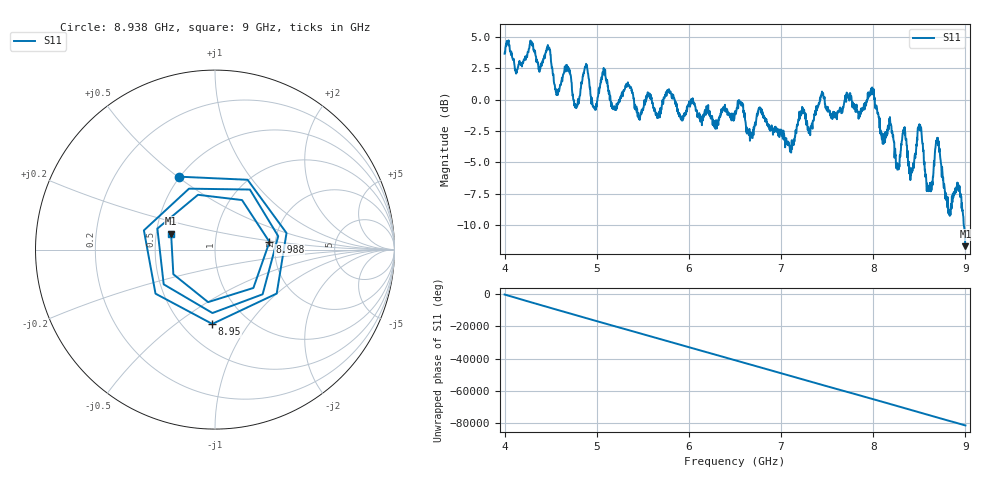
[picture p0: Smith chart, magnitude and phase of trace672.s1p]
! Created with skrf 1.8.0 (http://scikit-rf.org).
# Hz S RI R 50.0
!freq ReS11 ImS11
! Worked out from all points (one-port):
!   1601 points, 4 GHz to 9 GHz, reference 50 ohm
!   lowest |S11| = -11.7 dB at 9 GHz (marker M1), VSWR 1.70, Z = 29.9 + j5.76 ohm
!   |S11| at or under -10 dB: 8.982962 GHz to end of sweep
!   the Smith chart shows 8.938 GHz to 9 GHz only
!   S11 on the Smith chart (normalised r, x): 8.938 GHz: 0.50, +0.51; 8.95 GHz: 0.69, -0.69; 8.988 GHz: 1.86, +0.18; 9 GHz: 0.60, +0.12
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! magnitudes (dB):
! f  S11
! 4 GHz  3.7
! 4.472 GHz  4.1
! 4.559 GHz  0.6
! 4.625 GHz  1.5
! 4.691 GHz  2.4
! 4.769 GHz  -0.4
! 4.881 GHz  2.7
! 4.972 GHz  -0.7
! 5.075 GHz  2.5
! 5.25 GHz  0.0
! 5.875 GHz  -0.8
! 6.5 GHz  -1.1
! 7.125 GHz  -3.6
! 7.222 GHz  -0.9
! 7.75 GHz  0.5
! 7.991 GHz  0.8
! 8.259 GHz  -5.1
! 8.334 GHz  -2.3
! 8.375 GHz  -4.2
! 8.422 GHz  -5.6
! 8.506 GHz  -2.0
! 8.6 GHz  -7.3
! 8.697 GHz  -3.3
! 8.816 GHz  -9.1
! 8.938 GHz  -6.9
! 8.95 GHz  -7.7
! 8.988 GHz  -10.3
! 9 GHz  -11.7
